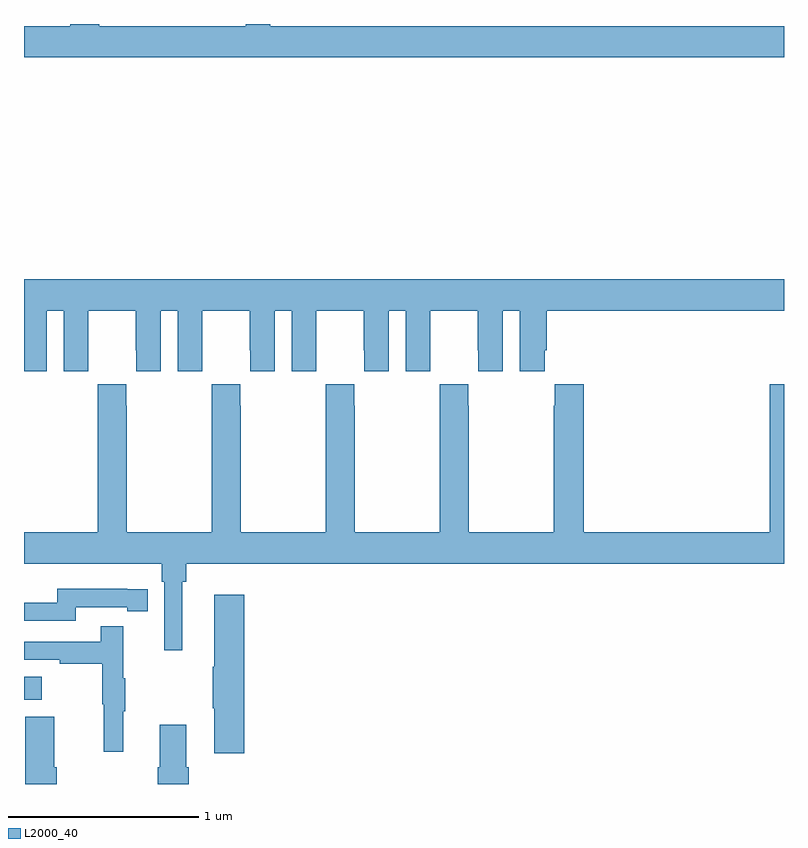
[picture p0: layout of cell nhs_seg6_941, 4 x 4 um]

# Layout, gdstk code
import gdstk
lib = gdstk.Library(unit=1e-6, precision=1e-09)
def R(c, l, rs):  # rectangles x0, y0, x1, y1
    for r in rs: c.add(gdstk.rectangle(r[:2], r[2:], *l))
def P(c, l, *ps):  # polygons
    for p in ps: c.add(gdstk.Polygon(p, *l))
L2000_40 = (2000, 40)

nhs_seg6_941 = lib.new_cell('nhs_seg6_941')
R(nhs_seg6_941, L2000_40, [(169,955.943,169.093,956.065)])
P(nhs_seg6_941, L2000_40, [(173,959.488),(170.297,959.488),(170.297,959.5),(170.168,959.5),(170.168,959.488),(169.396,959.488),(169.396,959.5),(169.244,959.5),(169.244,959.488),(169,959.488),(169,959.324),(173,959.324)],
  [(169.12,957.992),(169.208,957.992),(169.208,957.672),(169.338,957.672),(169.338,957.784),(169.339,957.784),(169.339,957.992),(169.589,957.992),(169.589,957.784),(169.59,957.784),(169.59,957.672),(169.72,957.672),(169.72,957.992),(169.808,957.992),(169.808,957.672),(169.938,957.672),(169.938,957.784),(169.939,957.784),(169.939,957.992),(170.189,957.992),(170.189,957.784),(170.19,957.784),(170.19,957.672),(170.32,957.672),(170.32,957.992),(170.408,957.992),(170.408,957.672),(170.538,957.672),(170.538,957.784),(170.539,957.784),(170.539,957.992),(170.789,957.992),(170.789,957.784),(170.79,957.784),(170.79,957.672),(170.92,957.672),(170.92,957.992),(171.008,957.992),(171.008,957.672),(171.138,957.672),(171.138,957.784),(171.139,957.784),(171.139,957.992),(171.389,957.992),(171.389,957.784),(171.39,957.784),(171.39,957.672),(171.52,957.672),(171.52,957.992),(171.608,957.992),(171.608,957.672),(171.742,957.672),(171.742,957.784),(171.752,957.784),(171.752,957.992),(173,957.992),(173,958.156),(169,958.156),(169,957.672),(169.12,957.672)],
  [(173,957.604),(172.925,957.604),(172.925,956.824),(171.947,956.824),(171.947,957.604),(171.793,957.604),(171.793,957.491),(171.787,957.491),(171.787,956.824),(171.342,956.824),(171.342,957.491),(171.339,957.491),(171.339,957.604),(171.189,957.604),(171.189,957.491),(171.187,957.491),(171.187,956.824),(170.742,956.824),(170.742,957.491),(170.739,957.491),(170.739,957.604),(170.589,957.604),(170.589,957.491),(170.587,957.491),(170.587,956.824),(170.142,956.824),(170.142,957.491),(170.139,957.491),(170.139,957.604),(169.989,957.604),(169.989,957.491),(169.987,957.491),(169.987,956.824),(169.542,956.824),(169.542,957.491),(169.539,957.491),(169.539,957.604),(169.389,957.604),(169.389,957.491),(169.387,957.491),(169.387,956.824),(169,956.824),(169,956.66),(169.724,956.66),(169.724,956.564),(169.737,956.564),(169.737,956.205),(169.834,956.205),(169.834,956.564),(169.853,956.564),(169.853,956.66),(173,956.66)],
  [(169.272,956.43),(169.544,956.43),(169.544,956.41),(169.652,956.41),(169.652,956.526),(169.544,956.526),(169.544,956.527),(169.176,956.527),(169.176,956.454),(169,956.454),(169,956.358),(169.272,956.358)],
  [(170.159,956.497),(170,956.497),(170,956.117),(169.993,956.117),(169.993,955.9),(170,955.9),(170,955.662),(170.159,955.662)],
  [(169.523,955.883),(169.534,955.883),(169.534,956.057),(169.523,956.057),(169.523,956.329),(169.405,956.329),(169.405,956.25),(169,956.25),(169,956.154),(169.189,956.154),(169.189,956.134),(169.413,956.134),(169.413,955.92),(169.42,955.92),(169.42,955.671),(169.523,955.671)],
  [(169.172,955.588),(169.159,955.588),(169.159,955.855),(169.007,955.855),(169.007,955.5),(169.172,955.5)],
  [(169.868,955.588),(169.855,955.588),(169.855,955.813),(169.715,955.813),(169.715,955.588),(169.703,955.588),(169.703,955.5),(169.868,955.5)])

lib.write_gds('nhs_seg6_941.gds')
